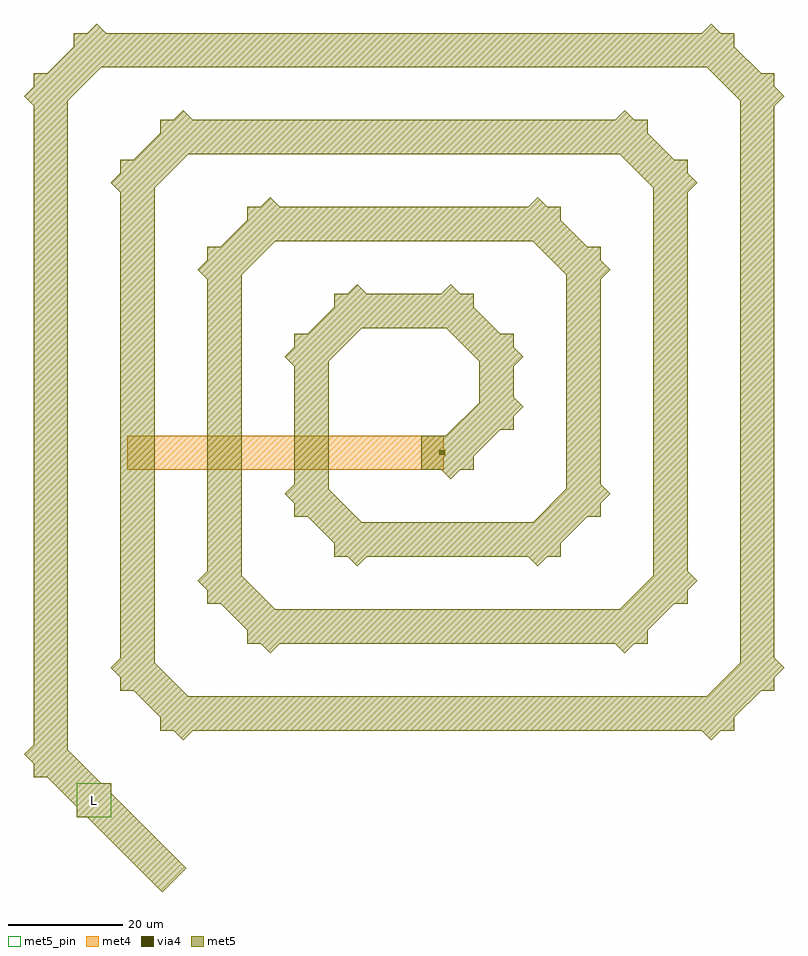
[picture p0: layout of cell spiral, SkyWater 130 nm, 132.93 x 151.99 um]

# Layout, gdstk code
import gdstk
lib = gdstk.Library(unit=1e-6, precision=1e-09)
def R(c, l, rs):  # rectangles x0, y0, x1, y1
    for r in rs: c.add(gdstk.rectangle(r[:2], r[2:], *l))
def P(c, l, *ps):  # polygons
    for p in ps: c.add(gdstk.Polygon(p, *l))
met4 = (71, 20)
via4 = (71, 44)
met5_pin = (72, 16)
met5 = (72, 20)

spiral = lib.new_cell('spiral')
R(spiral, met4, [(-55,-3,0.35,3), (-0.59,-0.59,0.59,0.59)])
R(spiral, via4, [(-0.4,-0.4,0.4,0.4)])
R(spiral, met5_pin, [(-63.8,-63.8,-57.8,-57.8)])
R(spiral, met5, [(-63.8,-63.8,-57.8,-57.8), (-71.4,-56.8,-65.4,66.4), (-49.2,-48.6,51.2,-42.6), (-56.2,-41.6,-50.2,51.2), (52.2,-41.6,58.2,66.4), (-34,-33.4,36,-27.4), (-41,-26.4,-35,36), (37,-26.4,43,51.2), (-18.8,-18.2,20.8,-12.2), (-25.8,-11.2,-19.8,20.8), (21.8,-11.2,27.8,36), (-3.6,-3,5.6,3), (-1.25,-0.8,1.25,0.8), (6.6,4,12.6,20.8), (-18.8,21.8,5.6,27.8), (-34,37,20.8,43), (-49.2,52.2,36,58.2), (-64.4,67.4,51.2,73.4)])
P(spiral, met5, [(1.575,-4.665),(-2.665,-0.425),(10.025,12.265),(14.265,8.025)],
  [(10.025,12.535),(-2.665,25.225),(1.575,29.465),(14.265,16.775)],
  [(-23.225,12.535),(-27.465,16.775),(-14.775,29.465),(-10.535,25.225)],
  [(-14.775,-19.865),(-27.465,-7.175),(-23.225,-2.935),(-10.535,-15.625)],
  [(16.775,-19.865),(12.535,-15.625),(25.225,-2.935),(29.465,-7.175)],
  [(25.225,27.735),(12.535,40.425),(16.775,44.665),(29.465,31.975)],
  [(-38.425,27.735),(-42.665,31.975),(-29.975,44.665),(-25.735,40.425)],
  [(-29.975,-35.065),(-42.665,-22.375),(-38.425,-18.135),(-25.735,-30.825)],
  [(31.975,-35.065),(27.735,-30.825),(40.425,-18.135),(44.665,-22.375)],
  [(40.425,42.935),(27.735,55.625),(31.975,59.865),(44.665,47.175)],
  [(-53.625,42.935),(-57.865,47.175),(-45.175,59.865),(-40.935,55.625)],
  [(-45.175,-50.265),(-57.865,-37.575),(-53.625,-33.335),(-40.935,-46.025)],
  [(47.175,-50.265),(42.935,-46.025),(55.625,-33.335),(59.865,-37.575)],
  [(55.625,58.135),(42.935,70.825),(47.175,75.065),(59.865,62.375)],
  [(-68.825,58.135),(-73.065,62.375),(-60.375,75.065),(-56.135,70.825)],
  [(-60.375,-65.465),(-73.065,-52.775),(-68.825,-48.535),(-56.135,-61.225)],
  [(-48.92,-76.92),(-62.92,-62.92),(-58.68,-58.68),(-44.68,-72.68)])
spiral.add(gdstk.Label('L', (-60.8,-60.8), layer=72, texttype=16))
spiral.add(gdstk.Label('L', (-60.8,-60.8), layer=72, texttype=5))

lib.write_gds('spiral.gds')
